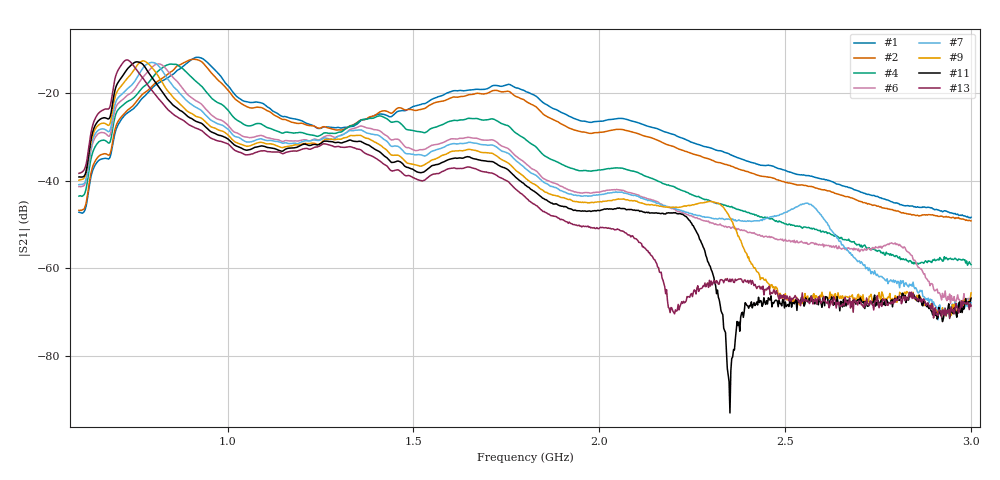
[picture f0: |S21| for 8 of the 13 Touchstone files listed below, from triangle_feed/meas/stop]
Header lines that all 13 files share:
#  HZ  S  RI  R  50.00
! Rohde & Schwarz ZVB8 2Ports - Version 2.81 - 1145.1010k08 SN: 100113
! Measurements: S11 S21 S12 S22
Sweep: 600 MHz to 3 GHz
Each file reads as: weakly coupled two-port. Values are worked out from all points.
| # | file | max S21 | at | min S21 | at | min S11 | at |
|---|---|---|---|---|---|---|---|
| 1 | triag_6_0_0_0.s2p | -11.88 dB | 919.5 MHz | -48.5 dB | 2.998 GHz | -17.2 dB | 816.2 MHz |
| 2 | triag_a_0_0_0.s2p | -12.34 dB | 907.5 MHz | -49.2 dB | 3 GHz | -14.4 dB | 777.8 MHz |
| 3 | triag_e_0_0_0.s2p | -12.94 dB | 888.3 MHz | -53.2 dB | 2.863 GHz | -11.0 dB | 773 MHz |
| 4 | triag_f_7_0_0.s2p | -13.43 dB | 847.4 MHz | -59.3 dB | 2.99 GHz | -11.0 dB | 688.9 MHz |
| 5 | triag_f_b_0_0.s2p | -13.64 dB | 842.6 MHz | -62.6 dB | 2.995 GHz | -10.9 dB | 688.9 MHz |
| 6 | triag_f_f_4_0.s2p | -13.39 dB | 813.8 MHz | -68.6 dB | 3 GHz | -9.3 dB | 686.5 MHz |
| 7 | triag_f_f_8_0.s2p | -13.06 dB | 797 MHz | -71.7 dB | 2.911 GHz | -9.2 dB | 686.5 MHz |
| 8 | triag_f_f_c_0.s2p | -12.78 dB | 775.4 MHz | -70.6 dB | 2.899 GHz | -9.2 dB | 686.5 MHz |
| 9 | triag_f_f_e_0.s2p | -12.70 dB | 773 MHz | -70.8 dB | 2.933 GHz | -9.1 dB | 686.5 MHz |
| 10 | triag_f_f_f_1.s2p | -12.95 dB | 763.4 MHz | -87.0 dB | 2.368 GHz | -9.2 dB | 681.7 MHz |
| 11 | triag_f_f_f_3.s2p | -12.92 dB | 756.2 MHz | -92.9 dB | 2.351 GHz | -9.3 dB | 684.1 MHz |
| 12 | triag_f_f_f_7.s2p | -12.71 dB | 732.1 MHz | -88.6 dB | 2.255 GHz | -9.2 dB | 686.5 MHz |
| 13 | triag_f_f_f_9.s2p | -12.49 dB | 729.7 MHz | -71.4 dB | 2.942 GHz | -9.2 dB | 686.5 MHz |
